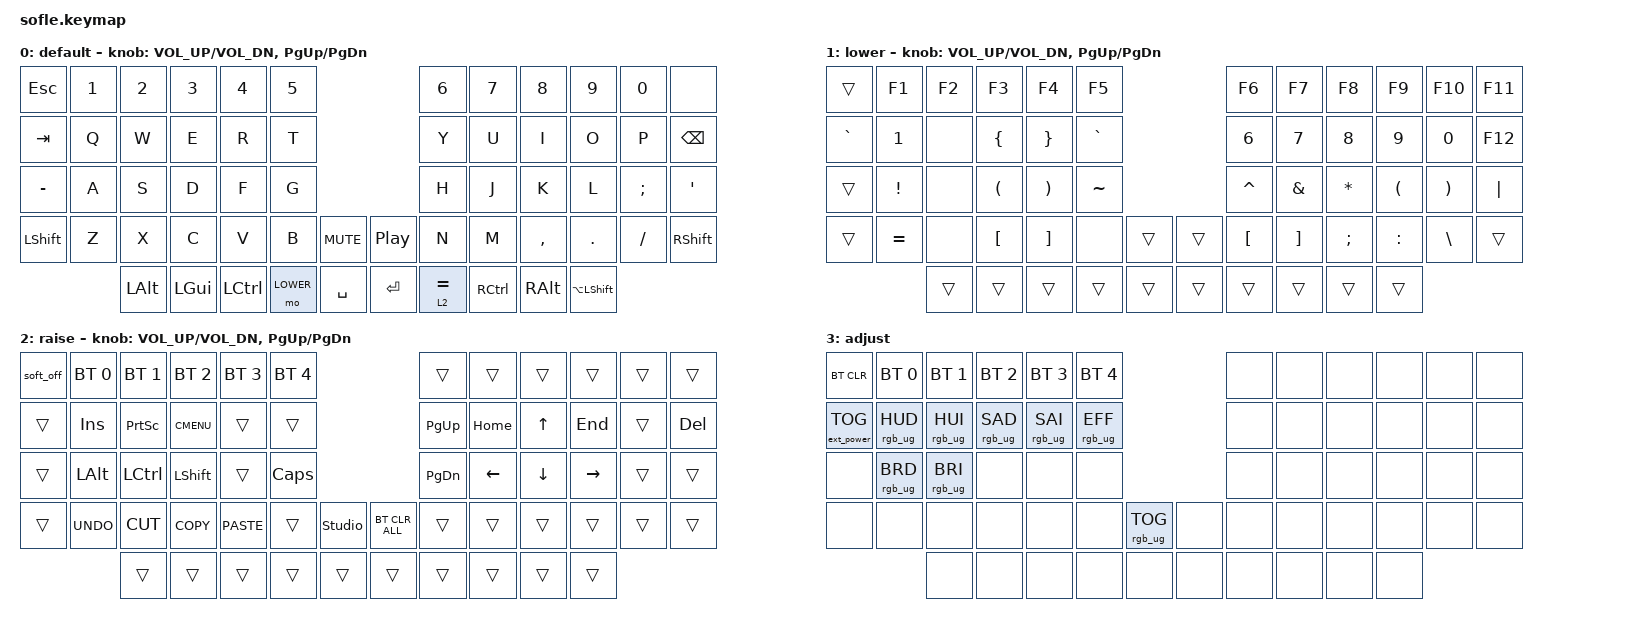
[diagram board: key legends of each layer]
/*
 * Copyright (c) 2020 The ZMK Contributors
 *
 * SPDX-License-Identifier: MIT
 */

#include <behaviors.dtsi>
#include <dt-bindings/zmk/bt.h>
#include <dt-bindings/zmk/ext_power.h>
#include <dt-bindings/zmk/keys.h>
#include <dt-bindings/zmk/rgb.h>

#define BASE 0
#define LOWER 1
#define RAISE 2
#define ADJUST 3

/ {
    // Activate ADJUST layer by pressing raise and lower

    conditional_layers {
        compatible = "zmk,conditional-layers";

        adjust_layer {
            if-layers = <LOWER RAISE>;
            then-layer = <ADJUST>;
        };
    };

    keymap {
        compatible = "zmk,keymap";

        default_layer {
            display-name = "default";

            // ------------------------------------------------------------------------------------------------------------
            // |   `   |  1  |  2  |  3   |  4   |  5   |                   |  6   |  7    |  8    |  9   |   0   |       |
            // |  ESC  |  Q  |  W  |  E   |  R   |  T   |                   |  Y   |  U    |  I    |  O   |   P   | BKSPC |
            // |  TAB  |  A  |  S  |  D   |  F   |  G   |                   |  H   |  J    |  K    |  L   |   ;   |   '   |
            // | SHIFT |  Z  |  X  |  C   |  V   |  B   |  MUTE  |  |       |  N   |  M    |  ,    |  .   |   /   | SHIFT |
            //               | GUI | ALT  | CTRL | LOWER|  ENTER |  | SPACE | RAISE| CTRL  | ALT   | GUI  |

            bindings = <
&kp ESCAPE  &kp N1  &kp N2    &kp N3    &kp N4     &kp N5                                     &kp N6       &kp N7     &kp N8     &kp N9              &kp N0    &none
&kp TAB     &kp Q   &kp W     &kp E     &kp R      &kp T                                      &kp Y        &kp U      &kp I      &kp O               &kp P     &kp BSPC
&kp MINUS   &kp A   &kp S     &kp D     &kp F      &kp G                                      &kp H        &kp J      &kp K      &kp L               &kp SEMI  &kp SQT
&kp LSHFT   &kp Z   &kp X     &kp C     &kp V      &kp B      &kp C_MUTE    &kp C_PLAY_PAUSE  &kp N        &kp M      &kp COMMA  &kp DOT             &kp FSLH  &kp RSHFT
                    &kp LALT  &kp LGUI  &kp LCTRL  &mo LOWER  &kp SPACE     &kp ENTER         &lt 2 EQUAL  &kp RCTRL  &kp RALT   &kp LA(LEFT_SHIFT)
            >;

            sensor-bindings = <&inc_dec_kp C_VOL_UP C_VOL_DN &inc_dec_kp PG_UP PG_DN>;
        };

        lower_layer {
            display-name = "lower";

            // TODO: Some binds are waiting for shifted keycode support.
            // ------------------------------------------------------------------------------------------------------------
            // |       |  F1 |  F2 |  F3  |  F4  |  F5  |                   |  F6  |  F7   |  F8   |  F9  |  F10  |  F11  |
            // |   `   |  1  |  2  |  3   |  4   |  5   |                   |  6   |  7    |  8    |  9   |   0   |  F12  |
            // |       |  !  |  @  |  #   |  $   |  %   |                   |  ^   |  &    |  *    |  (   |   )   |   |   |
            // |       |  =  |  -  |  +   |  {   |  }   |        |  |       |  [   |  ]    |  ;    |  :   |   \   |       |
            //               |     |      |      |      |        |  |       |      |       |       |      |

            bindings = <
&trans     &kp F1     &kp F2  &kp F3                &kp F4                 &kp F5                       &kp F6     &kp F7    &kp F8     &kp F9     &kp F10   &kp F11
&kp GRAVE  &kp N1     &none   &kp LEFT_BRACE        &kp RIGHT_BRACE        &kp GRAVE                    &kp N6     &kp N7    &kp N8     &kp N9     &kp N0    &kp F12
&trans     &kp EXCL   &none   &kp LEFT_PARENTHESIS  &kp RIGHT_PARENTHESIS  &kp TILDE                    &kp CARET  &kp AMPS  &kp ASTRK  &kp LPAR   &kp RPAR  &kp PIPE
&trans     &kp EQUAL  &none   &kp LEFT_BRACKET      &kp RIGHT_BRACKET      &none      &trans    &trans  &kp LBKT   &kp RBKT  &kp SEMI   &kp COLON  &kp BSLH  &trans
                      &trans  &trans                &trans                 &trans     &trans    &trans  &trans     &trans    &trans     &trans
            >;

            sensor-bindings = <&inc_dec_kp C_VOL_UP C_VOL_DN &inc_dec_kp PG_UP PG_DN>;
        };

        raise_layer {
            display-name = "raise";

            // ------------------------------------------------------------------------------------------------------------
            // | BTCLR | BT1  | BT2  |  BT3  |  BT4  |  BT5 |                |      |      |       |      |       |       |
            // |       | INS  | PSCR | GUI   |       |      |                | PGUP |      |   ^   |      |       |       |
            // |       | ALT  | CTRL | SHIFT |       | CAPS |                | PGDN |   <- |   v   |  ->  |  DEL  | BKSPC |
            // |       | UNDO | CUT  | COPY  | PASTE |      |      |  |      |      |      |       |      |       |       |
            //                |      |       |       |      |      |  |      |      |      |       |      |

            bindings = <
&soft_off  &bt BT_SEL 0  &bt BT_SEL 1  &bt BT_SEL 2  &bt BT_SEL 3  &bt BT_SEL 4                                    &trans     &trans    &trans    &trans     &trans  &trans
&trans     &kp INS       &kp PSCRN     &kp K_CMENU   &trans        &trans                                          &kp PG_UP  &kp HOME  &kp UP    &kp END    &trans  &kp DELETE
&trans     &kp LALT      &kp LCTRL     &kp LSHFT     &trans        &kp CLCK                                        &kp PG_DN  &kp LEFT  &kp DOWN  &kp RIGHT  &trans  &trans
&trans     &kp K_UNDO    &kp K_CUT     &kp K_COPY    &kp K_PASTE   &trans        &studio_unlock    &bt BT_CLR_ALL  &trans     &trans    &trans    &trans     &trans  &trans
                         &trans        &trans        &trans        &trans        &trans            &trans          &trans     &trans    &trans    &trans
            >;

            sensor-bindings = <&inc_dec_kp C_VOL_UP C_VOL_DN &inc_dec_kp PG_UP PG_DN>;
        };

        adjust_layer {
            // ----------------------------------------------------------------------------------------------------------------------------
            // | BTCLR  |  BT1    |  BT2    |   BT3   |   BT4   |   BT5   |                  |      |      |       |      |       |       |
            // | EXTPWR | RGB_HUD | RGB_HUI | RGB_SAD | RGB_SAI | RGB_EFF |                  |      |      |       |      |       |       |
            // |        | RGB_BRD | RGB_BRI |         |         |         |                  |      |      |       |      |       |       |
            // |        |         |         |         |         |         | RGB_TOG | |      |      |      |       |      |       |       |
            //                    |         |         |         |         |         | |      |      |      |       |      |

            display-name = "adjust";
            bindings = <
&bt BT_CLR         &bt BT_SEL 0     &bt BT_SEL 1     &bt BT_SEL 2     &bt BT_SEL 3     &bt BT_SEL 4                               &none  &none  &none  &none  &none  &none
&ext_power EP_TOG  &rgb_ug RGB_HUD  &rgb_ug RGB_HUI  &rgb_ug RGB_SAD  &rgb_ug RGB_SAI  &rgb_ug RGB_EFF                            &none  &none  &none  &none  &none  &none
&none              &rgb_ug RGB_BRD  &rgb_ug RGB_BRI  &none            &none            &none                                      &none  &none  &none  &none  &none  &none
&none              &none            &none            &none            &none            &none            &rgb_ug RGB_TOG    &none  &none  &none  &none  &none  &none  &none
                                    &none            &none            &none            &none            &none              &none  &none  &none  &none  &none
            >;
        };
    };
};
